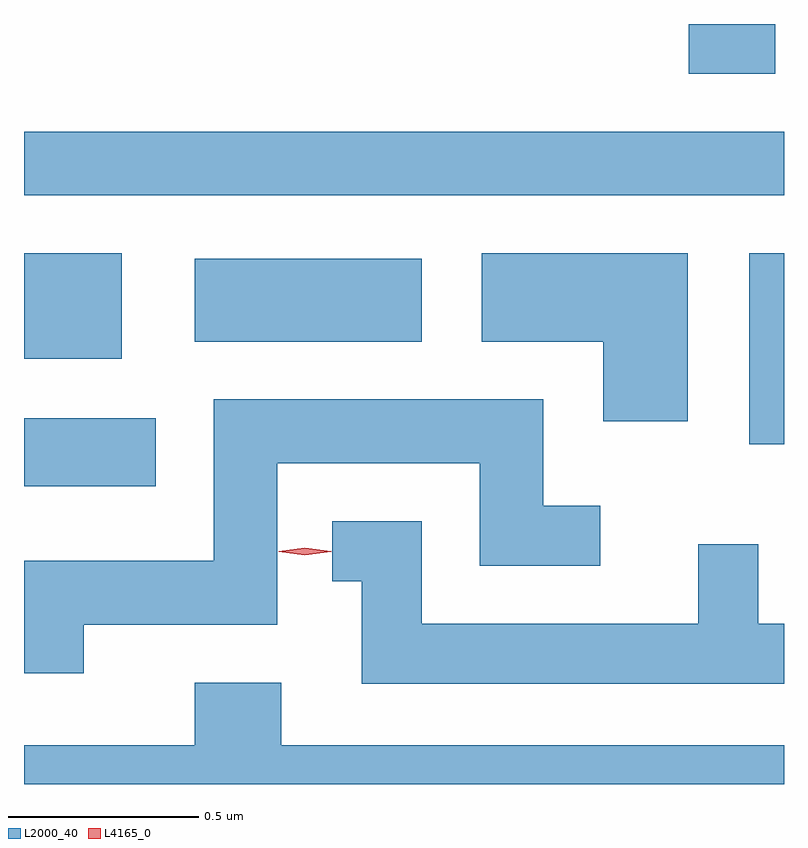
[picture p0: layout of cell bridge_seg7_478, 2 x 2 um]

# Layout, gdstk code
import gdstk
lib = gdstk.Library(unit=1e-6, precision=1e-09)
def R(c, l, rs):  # rectangles x0, y0, x1, y1
    for r in rs: c.add(gdstk.rectangle(r[:2], r[2:], *l))
def P(c, l, *ps):  # polygons
    for p in ps: c.add(gdstk.Polygon(p, *l))
L2000_40 = (2000, 40)
L4165_0 = (4165, 0)

bridge_seg7_478 = lib.new_cell('bridge_seg7_478')
R(bridge_seg7_478, L2000_40, [(1098.362,1728.586,1098.709,1728.764), (1100.271,1728.696,1100.362,1729.199), (1098.362,1728.921,1098.619,1729.199), (1098.811,1728.966,1099.409,1729.184), (1098.362,1729.351,1100.362,1729.519), (1100.111,1729.671,1100.339,1729.802)])
P(bridge_seg7_478, L2000_40, [(1100.109,1729.199),(1099.566,1729.199),(1099.566,1728.966),(1099.886,1728.966),(1099.886,1728.756),(1100.109,1728.756)],
  [(1098.519,1728.221),(1099.029,1728.221),(1099.029,1728.646),(1099.561,1728.646),(1099.561,1728.376),(1099.878,1728.376),(1099.878,1728.534),(1099.729,1728.534),(1099.729,1728.814),(1098.861,1728.814),(1098.861,1728.389),(1098.362,1728.389),(1098.362,1728.093),(1098.519,1728.093)],
  [(1100.362,1728.224),(1100.294,1728.224),(1100.294,1728.433),(1100.136,1728.433),(1100.136,1728.224),(1099.409,1728.224),(1099.409,1728.494),(1099.173,1728.494),(1099.173,1728.336),(1099.251,1728.336),(1099.251,1728.066),(1100.362,1728.066)],
  [(1100.362,1727.904),(1099.039,1727.904),(1099.039,1728.069),(1098.811,1728.069),(1098.811,1727.904),(1098.362,1727.904),(1098.362,1727.802),(1100.362,1727.802)])
P(bridge_seg7_478, L4165_0, [(1099.101,1728.404),(1099.032,1728.413),(1099.032,1728.414),(1099.032,1728.414),(1099.101,1728.424),(1099.171,1728.414),(1099.171,1728.414),(1099.171,1728.413)])

lib.write_gds('bridge_seg7_478.gds')
